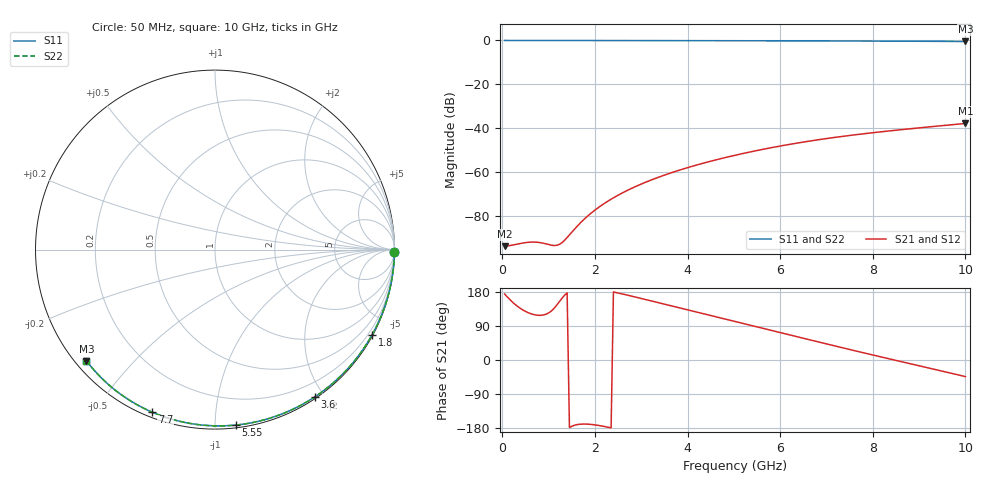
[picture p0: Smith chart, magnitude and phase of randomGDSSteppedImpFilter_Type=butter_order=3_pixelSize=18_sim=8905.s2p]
! freq	dB(S11)	phase(S11)	dB(S12)	phase(S12)
!  dB(S21)	phase(S21)	dB(S22)	phase(S22)
!S-par simulation data
#  GHz  S  DB  R 50
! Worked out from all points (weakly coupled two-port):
!   200 points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, 50 MHz to 10 GHz, reference 50 ohm
!   highest |S21| = -37.77 dB at 10 GHz (marker M1); lowest = -93.6 dB at 50 MHz (marker M2)
!   lowest |S11| = -0.5 dB at 10 GHz (marker M3), VSWR 36.90, Z = 1.54 - j18.6 ohm
!   |S11| at or under -10 dB: nowhere
!   |S22| runs from -0.5 to 0.0 dB; largest |S21 - S12| = 0
!   S11 on the Smith chart (normalised r, x): 50 MHz: open; 1.8 GHz: 0.03, -3.92; 3.6 GHz: 0.02, -1.89; 5.55 GHz: 0.02, -1.12; 7.7 GHz: 0.02, -0.69; 10 GHz: 0.03, -0.37
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0.05  -0.00 -0.8  -93.61 174.2  -93.61 174.2  -0.00 -0.8
0.85  -0.02 -13.7  -92.11 118.1  -92.11 118.1  -0.02 -13.7
1.3  -0.03 -20.8  -91.81 164.7  -91.81 164.7  -0.03 -20.8
1.75  -0.04 -27.8  -81.70 -169.0  -81.70 -169.0  -0.04 -27.8
1.8  -0.04 -28.6  -80.71 -169.0  -80.71 -169.0  -0.04 -28.6
1.85  -0.04 -29.4  -79.78 -169.3  -79.78 -169.3  -0.04 -29.4
2  -0.04 -31.7  -77.21 -171.2  -77.21 -171.2  -0.04 -31.7
2.15  -0.04 -34.0  -74.92 -174.2  -74.92 -174.2  -0.04 -34.0
2.35  -0.05 -37.1  -72.22 -179.1  -72.22 -179.1  -0.05 -37.1
2.55  -0.05 -40.2  -69.85 175.5  -69.85 175.5  -0.05 -40.2
2.95  -0.06 -46.2  -65.80 163.9  -65.80 163.9  -0.06 -46.2
3.4  -0.07 -52.9  -62.03 150.4  -62.03 150.4  -0.07 -52.9
3.6  -0.08 -55.9  -60.55 144.4  -60.55 144.4  -0.08 -55.9
4.3  -0.09 -66.0  -56.07 123.3  -56.07 123.3  -0.09 -66.0
5.05  -0.12 -76.5  -52.13 100.9  -52.13 100.9  -0.12 -76.5
5.55  -0.14 -83.3  -49.87 86.0  -49.87 86.0  -0.14 -83.3
6.1  -0.16 -90.6  -47.66 69.5  -47.66 69.5  -0.16 -90.6
6.7  -0.19 -98.4  -45.57 51.4  -45.57 51.4  -0.19 -98.4
7.7  -0.25 -111.1  -42.72 21.9  -42.72 21.9  -0.25 -111.1
8.35  -0.30 -119.1  -41.18 3.2  -41.18 3.2  -0.30 -119.1
9.2  -0.38 -129.5  -39.37 -20.7  -39.37 -20.7  -0.38 -129.4
10  -0.47 -139.1  -37.77 -43.9  -37.77 -43.9  -0.47 -139.1
